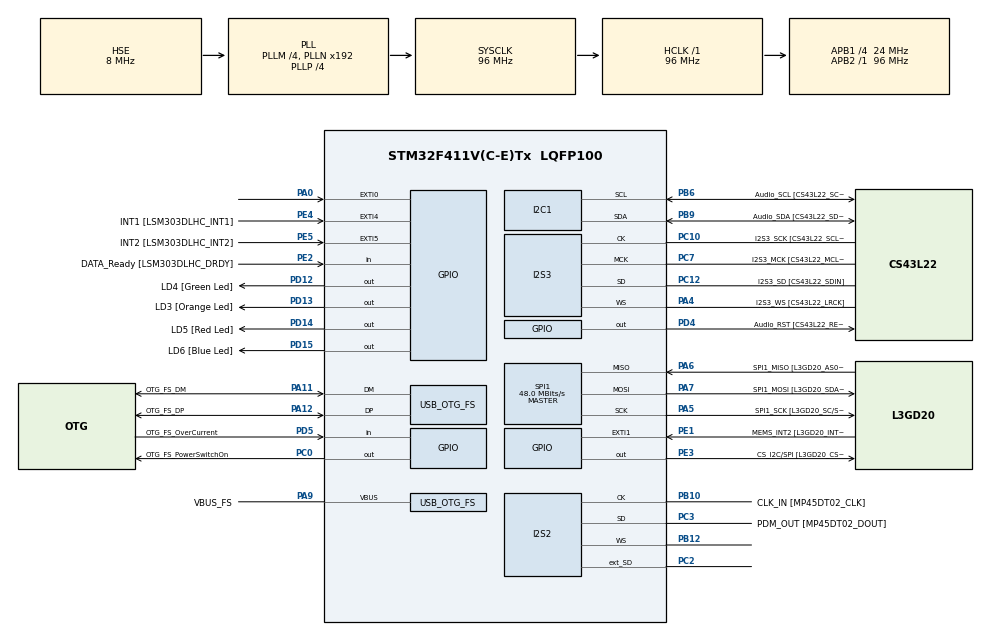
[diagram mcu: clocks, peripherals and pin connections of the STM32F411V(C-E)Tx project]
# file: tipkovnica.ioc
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I2S2.AudioFreq=I2S_AUDIOFREQ_96K
I2S2.ErrorAudioFreq=0.15 %
I2S2.FullDuplexMode=I2S_FULLDUPLEXMODE_ENABLE
I2S2.Instance=SPI$Index
I2S2.RealAudioFreq=96.153 KHz
I2S2.VirtualMode=I2S_MODE_MASTER
I2S3.AudioFreq=I2S_AUDIOFREQ_96K
I2S3.ErrorAudioFreq=-6.99 %
I2S3.FullDuplexMode=I2S_FULLDUPLEXMODE_DISABLE
I2S3.Instance=SPI$Index
I2S3.RealAudioFreq=89.285 KHz
I2S3.VirtualMode=I2S_MODE_MASTER
Mcu.Family=STM32F4
Mcu.Name=STM32F411V(C-E)Tx
Mcu.Package=LQFP100
NVIC.OTG_FS_IRQn=true\:0\:0\:false\:false\:true\:true\:true
NVIC.PriorityGroup=NVIC_PRIORITYGROUP_0
PA0-WKUP.GPIO_ModeDefaultEXTI=GPIO_MODE_EVT_RISING
PA0-WKUP.Signal=GPXTI0
PA10.GPIO_Label=OTG_FS_ID
PA10.Signal=USB_OTG_FS_ID
PA11.GPIO_Label=OTG_FS_DM
PA11.Mode=Device_Only
PA11.Signal=USB_OTG_FS_DM
PA12.GPIO_Label=OTG_FS_DP
PA12.Mode=Device_Only
PA12.Signal=USB_OTG_FS_DP
PA13.GPIO_Label=SWDIO
PA13.Mode=Serial_Wire
PA13.Signal=SYS_JTMS-SWDIO
PA14.GPIO_Label=SWCLK
PA14.Mode=Serial_Wire
PA14.Signal=SYS_JTCK-SWCLK
PA4.GPIO_Label=I2S3_WS [CS43L22_LRCK]
PA4.GPIO_Mode=GPIO_MODE_AF_PP
PA4.GPIO_PuPd=GPIO_NOPULL
PA4.GPIO_Speed=GPIO_SPEED_FREQ_LOW
PA4.Mode=Half_Duplex_Master
PA4.Signal=I2S3_WS
PA5.GPIO_Label=SPI1_SCK [L3GD20_SC/SPC]
PA5.Mode=Full_Duplex_Master
PA5.Signal=SPI1_SCK
PA6.GPIO_Label=SPI1_MISO [L3GD20_AS0/SDO]
PA6.Mode=Full_Duplex_Master
PA6.Signal=SPI1_MISO
PA7.GPIO_Label=SPI1_MOSI [L3GD20_SDA/SDI/SDO]
PA7.Mode=Full_Duplex_Master
PA7.Signal=SPI1_MOSI
PA9.GPIO_Label=VBUS_FS
PA9.Mode=Activate_VBUS
PA9.Signal=USB_OTG_FS_VBUS
PB10.GPIO_Label=CLK_IN [MP45DT02_CLK]
PB10.Mode=Full_Duplex_Master
PB10.Signal=I2S2_CK
PB12.Mode=Full_Duplex_Master
PB12.Signal=I2S2_WS
PB3.GPIO_Label=SWO
PB3.Signal=SYS_JTDO-SWO
PB6.GPIO_Label=Audio_SCL [CS43L22_SCL]
PB6.GPIO_Mode=GPIO_MODE_AF_OD
PB6.GPIO_PuPd=GPIO_NOPULL
PB6.GPIO_Speed=GPIO_SPEED_FREQ_LOW
PB6.Mode=I2C
PB6.Signal=I2C1_SCL
PB9.GPIO_Label=Audio_SDA [CS43L22_SDA]
PB9.GPIO_Mode=GPIO_MODE_AF_OD
PB9.GPIO_PuPd=GPIO_NOPULL
PB9.GPIO_Speed=GPIO_SPEED_FREQ_LOW
PB9.Mode=I2C
PB9.Signal=I2C1_SDA
PC0.GPIO_Label=OTG_FS_PowerSwitchOn
PC0.PinState=GPIO_PIN_SET
PC0.Signal=GPIO_Output
PC10.GPIO_Label=I2S3_SCK [CS43L22_SCLK]
PC10.GPIO_Mode=GPIO_MODE_AF_PP
PC10.GPIO_PuPd=GPIO_NOPULL
PC10.GPIO_Speed=GPIO_SPEED_FREQ_LOW
PC10.Mode=Half_Duplex_Master
PC10.Signal=I2S3_CK
PC12.GPIO_Label=I2S3_SD [CS43L22_SDIN]
PC12.GPIO_Mode=GPIO_MODE_AF_PP
PC12.GPIO_PuPd=GPIO_NOPULL
PC12.GPIO_Speed=GPIO_SPEED_FREQ_LOW
PC12.Mode=Half_Duplex_Master
PC12.Signal=I2S3_SD
PC14-OSC32_IN.GPIO_Label=PC14-OSC32_IN
PC14-OSC32_IN.Signal=RCC_OSC32_IN
PC15-OSC32_OUT.GPIO_Label=PC15-OSC32_OUT
PC15-OSC32_OUT.Signal=RCC_OSC32_OUT
PC2.Mode=Full_Duplex_Master
PC2.Signal=I2S2_ext_SD
PC3.GPIO_Label=PDM_OUT [MP45DT02_DOUT]
PC3.Mode=Full_Duplex_Master
PC3.Signal=I2S2_SD
PC7.GPIO_Label=I2S3_MCK [CS43L22_MCLK]
PC7.GPIO_Mode=GPIO_MODE_AF_PP
PC7.GPIO_PuPd=GPIO_NOPULL
PC7.GPIO_Speed=GPIO_SPEED_FREQ_LOW
PC7.Mode=Master_Clock_Activated
PC7.Signal=I2S3_MCK
PD12.GPIO_Label=LD4 [Green Led]
PD12.GPIO_PuPd=GPIO_NOPULL
PD12.GPIO_Speed=GPIO_SPEED_FREQ_LOW
PD12.Signal=GPIO_Output
PD13.GPIO_Label=LD3 [Orange Led]
PD13.GPIO_PuPd=GPIO_NOPULL
PD13.GPIO_Speed=GPIO_SPEED_FREQ_LOW
PD13.Signal=GPIO_Output
PD14.GPIO_Label=LD5 [Red Led]
PD14.GPIO_PuPd=GPIO_NOPULL
PD14.GPIO_Speed=GPIO_SPEED_FREQ_LOW
PD14.Signal=GPIO_Output
PD15.GPIO_Label=LD6 [Blue Led]
PD15.GPIO_PuPd=GPIO_NOPULL
PD15.GPIO_Speed=GPIO_SPEED_FREQ_LOW
PD15.Signal=GPIO_Output
PD4.GPIO_Label=Audio_RST [CS43L22_RESET]
PD4.Signal=GPIO_Output
PD5.GPIO_Label=OTG_FS_OverCurrent
PD5.Signal=GPIO_Input
PE1.GPIO_Label=MEMS_INT2 [L3GD20_INT2]
PE1.GPIO_ModeDefaultEXTI=GPIO_MODE_EVT_RISING
PE1.Signal=GPXTI1
PE2.GPIO_Label=DATA_Ready [LSM303DLHC_DRDY]
PE2.Signal=GPIO_Input
PE3.GPIO_Label=CS_I2C/SPI [L3GD20_CS_I2C/SPI]
PE3.Signal=GPIO_Output
PE4.GPIO_Label=INT1 [LSM303DLHC_INT1]
PE4.GPIO_ModeDefaultEXTI=GPIO_MODE_EVT_RISING
PE4.Signal=GPXTI4
PE5.GPIO_Label=INT2 [LSM303DLHC_INT2]
PE5.GPIO_ModeDefaultEXTI=GPIO_MODE_EVT_RISING
PE5.Signal=GPXTI5
PH0\ -\ OSC_IN.GPIO_Label=PH0-OSC_IN
PH0\ -\ OSC_IN.Mode=HSE-External-Oscillator
PH0\ -\ OSC_IN.Signal=RCC_OSC_IN
PH1\ -\ OSC_OUT.GPIO_Label=PH1-OSC_OUT
PH1\ -\ OSC_OUT.Mode=HSE-External-Oscillator
PH1\ -\ OSC_OUT.Signal=RCC_OSC_OUT
ProjectManager.HeapSize=0x200
ProjectManager.StackSize=0x400
ProjectManager.TargetToolchain=STM32CubeIDE
RCC.48MHZClocksFreq_Value=48000000
RCC.AHBFreq_Value=96000000
RCC.APB1CLKDivider=RCC_HCLK_DIV4
RCC.APB1Freq_Value=24000000
RCC.APB1TimFreq_Value=48000000
RCC.APB2Freq_Value=96000000
RCC.APB2TimFreq_Value=96000000
RCC.CortexFreq_Value=96000000
RCC.HCLKFreq_Value=96000000
RCC.HSE_VALUE=8000000
RCC.HSI_VALUE=16000000
RCC.LSE_VALUE=32768
RCC.PLLI2SM=5
RCC.PLLI2SN=200
RCC.PLLM=4
RCC.PLLP=RCC_PLLP_DIV4
RCC.PLLQ=8
RCC.SYSCLKFreq_VALUE=96000000
RCC.SYSCLKSource=RCC_SYSCLKSOURCE_PLLCLK
RCC.VCOOutputFreq_Value=384000000
SPI1.BaudRatePrescaler=SPI_BAUDRATEPRESCALER_2
SPI1.CalculateBaudRate=48.0 MBits/s
SPI1.Direction=SPI_DIRECTION_2LINES
SPI1.Mode=SPI_MODE_MASTER
SPI1.VirtualType=VM_MASTER
USB_DEVICE.CLASS_NAME_FS=CUSTOM_HID
USB_DEVICE.PRODUCT_STRING_CUSTOMHID_FS=KeyboardGhost
USB_DEVICE.USBD_CUSTOMHID_OUTREPORT_BUF_SIZE=9
USB_DEVICE.USBD_CUSTOM_HID_REPORT_DESC_SIZE=63
USB_DEVICE.VirtualMode=CustomHid
USB_DEVICE.VirtualModeFS=Custom_Hid_FS
USB_OTG_FS.VirtualMode=Device_Only
VP_USB_DEVICE_VS_USB_DEVICE_CUSTOM_HID_FS.Mode=CUSTOM_HID_FS
board=STM32F411E-DISCO

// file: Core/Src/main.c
/* USER CODE BEGIN Header */
/**
  ******************************************************************************
  * @file           : main.c
  * @brief          : Main program body
  ******************************************************************************
  * @attention
  *
  * <h2><center>&copy; Copyright (c) 2020 STMicroelectronics.
  * All rights reserved.</center></h2>
  *
  * This software component is licensed by ST under Ultimate Liberty license
  * SLA0044, the "License"; You may not use this file except in compliance with
  * the License. You may obtain a copy of the License at:
  *                             www.st.com/SLA0044
  *
  ******************************************************************************
  */
/* USER CODE END Header */
#include "main.h"
#include "usb_device.h"

/* USER CODE BEGIN Includes */
#include "usbd_custom_hid_if.h"
/* USER CODE END Includes */

I2C_HandleTypeDef hi2c1;

I2S_HandleTypeDef hi2s2;
I2S_HandleTypeDef hi2s3;

SPI_HandleTypeDef hspi1;

/* USER CODE BEGIN PV */
extern USBD_HandleTypeDef hUsbDeviceFS;
/* USER CODE END PV */

void SystemClock_Config(void);
static void MX_GPIO_Init(void);
static void MX_I2C1_Init(void);
static void MX_I2S2_Init(void);
static void MX_I2S3_Init(void);
static void MX_SPI1_Init(void);

/* USER CODE BEGIN 0 */
uint8_t tipkovnica[9]={0};
uint8_t tipkovnica2 [9]={0};
void lihi(){
	// pritisnemo tipko 2------------------------------------------------------
	  tipkovnica[3] = 31;
	  while(USBD_CUSTOM_HID_SendReport(&hUsbDeviceFS, tipkovnica, 9));

	  // spustimo tipko 2
	  tipkovnica[3] = 0;
	  while(USBD_CUSTOM_HID_SendReport(&hUsbDeviceFS, tipkovnica, 9));

	  HAL_Delay(245);

	  // pritisnemo tipko 3--------------------------------------------------------
	  tipkovnica[3] = 32;
	  while(USBD_CUSTOM_HID_SendReport(&hUsbDeviceFS, tipkovnica, 9));

	  // spustimo tipko 3
	  tipkovnica[3] = 0;
	  while(USBD_CUSTOM_HID_SendReport(&hUsbDeviceFS, tipkovnica, 9));

	  HAL_Delay(245);

	  // pritisnemo tipko 3-----------------------------------------------------------
	  tipkovnica[3] = 32;
	  while(USBD_CUSTOM_HID_SendReport(&hUsbDeviceFS, tipkovnica, 9));

	  // spustimo tipko 3
	  tipkovnica[3] = 0;
	  while(USBD_CUSTOM_HID_SendReport(&hUsbDeviceFS, tipkovnica, 9));

	  HAL_Delay(245);

	  // pritisnemo tipko 9---------------------------------------------------------
	  tipkovnica[3] = 38;
	  while(USBD_CUSTOM_HID_SendReport(&hUsbDeviceFS, tipkovnica, 9));

	  // spustimo tipko 9
	  tipkovnica[3] = 0;
	  while(USBD_CUSTOM_HID_SendReport(&hUsbDeviceFS, tipkovnica, 9));

	  HAL_Delay(245);

	  // pritisnemo tipko 0----------------------------------------------------
	  tipkovnica[3] = 39;
	  while(USBD_CUSTOM_HID_SendReport(&hUsbDeviceFS, tipkovnica, 9));

	  // spustimo tipko 0
	  tipkovnica[3] = 0;
	  while(USBD_CUSTOM_HID_SendReport(&hUsbDeviceFS, tipkovnica, 9));

	  HAL_Delay(245);
}

// polje znakov
uint32_t polje[95] = {44, 30, 52, 32, 33, 34, 36, 52, 38, 39,
					  85, 87, 54, 86, 55, 56, 39, 30, 31, 32,
					  33, 34, 35, 36, 37, 38, 51, 51, 54, 46,
					  55, 56, 31, 4, 5, 6, 7, 8, 9, 10,
					  11, 12, 13, 14, 15, 16, 17, 18, 19, 20,
					  21, 22, 23, 24, 25, 26, 27, 28, 29, 47,
					  49, 48, 35, 45, 53, 4, 5, 6, 7, 8,
					  9, 10, 11, 12, 13, 14, 15, 16, 17, 18,
					  19, 20, 21, 22, 23, 24, 25, 26, 27, 28,
					  29, 47, 49, 48, 53};

// kdaj stisnemo shift
uint32_t polje_shift[95] = {0, 2, 2, 2, 2, 2, 2, 0, 2, 2,
							0, 0, 0, 0, 0, 0, 0, 0, 0, 0,
							0, 0, 0, 0, 0, 0, 2, 0, 2, 0,
							2, 2, 2, 2, 2, 2, 2, 2, 2, 2,
							2, 2, 2, 2, 2, 2, 2, 2, 2, 2,
							2, 2, 2, 2, 2, 2, 2, 2, 2, 0,
 	 	 	 	 	 	 	0, 0, 2, 2, 0, 0, 0, 0, 0, 0,
							0, 0, 0, 0, 0, 0, 0, 0, 0, 0,
							0, 0, 0, 0, 0, 0, 0, 0, 0, 0,
							0, 2, 2, 2, 2};

void sodi(){
	for(uint32_t i=0; i<96;i++){
		tipkovnica[0] = polje_shift[i]; // pogleda ce more stisnet shift
		tipkovnica[3] = polje[i]; // pogleda kateri gumb more stisnet
		while(USBD_CUSTOM_HID_SendReport(&hUsbDeviceFS, tipkovnica, 9));
		tipkovnica[3] = 0;
		tipkovnica[0] = 0;
		while(USBD_CUSTOM_HID_SendReport(&hUsbDeviceFS, tipkovnica, 9));
		HAL_Delay(245);
	}

}

/* USER CODE END 0 */

int main(void)
{

  /* MCU Configuration--------------------------------------------------------*/

  /* Reset of all peripherals, Initializes the Flash interface and the Systick. */
  HAL_Init();

  /* Configure the system clock */
  SystemClock_Config();

  /* Initialize all configured peripherals */
  MX_GPIO_Init();
  MX_I2C1_Init();
  MX_I2S2_Init();
  MX_I2S3_Init();
  MX_SPI1_Init();
  MX_USB_DEVICE_Init();

  /* Infinite loop */
  /* USER CODE BEGIN WHILE */

    uint32_t spremeni = 0; // ce moremo spremenit
    uint32_t zaporedje = 0; // kateri pritisk
    uint32_t ponovitve = 0; // ce smo liho prvic
    uint32_t ponovitve_s = 0; // ce smo sodo prvic
    while (1)
    {
      if (HAL_GPIO_ReadPin(GPIOA, GPIO_PIN_0)){
    	  // smo pritisnili gumb
    	  if(spremeni == 0){
    		  // prvic not
    		  zaporedje++;
    	  }
    	  spremeni = 1;
      }
      else{
    	  spremeni = 0;
      }

      if(zaporedje%2 == 1){
    	  // lihi pritisk
    	  if(ponovitve == 0){
    		  lihi();
    		  ponovitve_s =0;
    	  }
    	  //sodi();
    	  ponovitve++;

      }
      else if (zaporedje != 0){

    	  if(ponovitve_s==0){
    		  sodi();
    		  ponovitve = 0;
    	  }
    	  ponovitve_s++;
      }

    /* USER CODE END WHILE */

    }
}

void SystemClock_Config(void)
{
  RCC_OscInitTypeDef RCC_OscInitStruct = {0};
  RCC_ClkInitTypeDef RCC_ClkInitStruct = {0};
  RCC_PeriphCLKInitTypeDef PeriphClkInitStruct = {0};

  /** Configure the main internal regulator output voltage
  */
  __HAL_RCC_PWR_CLK_ENABLE();
  __HAL_PWR_VOLTAGESCALING_CONFIG(PWR_REGULATOR_VOLTAGE_SCALE1);
  /** Initializes the RCC Oscillators according to the specified parameters
  * in the RCC_OscInitTypeDef structure.
  */
  RCC_OscInitStruct.OscillatorType = RCC_OSCILLATORTYPE_HSE;
  RCC_OscInitStruct.HSEState = RCC_HSE_ON;
  RCC_OscInitStruct.PLL.PLLState = RCC_PLL_ON;
  RCC_OscInitStruct.PLL.PLLSource = RCC_PLLSOURCE_HSE;
  RCC_OscInitStruct.PLL.PLLM = 4;
  RCC_OscInitStruct.PLL.PLLN = 192;
  RCC_OscInitStruct.PLL.PLLP = RCC_PLLP_DIV4;
  RCC_OscInitStruct.PLL.PLLQ = 8;
  if (HAL_RCC_OscConfig(&RCC_OscInitStruct) != HAL_OK)
  {
    Error_Handler();
  }
  /** Initializes the CPU, AHB and APB buses clocks
  */
  RCC_ClkInitStruct.ClockType = RCC_CLOCKTYPE_HCLK|RCC_CLOCKTYPE_SYSCLK
                              |RCC_CLOCKTYPE_PCLK1|RCC_CLOCKTYPE_PCLK2;
  RCC_ClkInitStruct.SYSCLKSource = RCC_SYSCLKSOURCE_PLLCLK;
  RCC_ClkInitStruct.AHBCLKDivider = RCC_SYSCLK_DIV1;
  RCC_ClkInitStruct.APB1CLKDivider = RCC_HCLK_DIV4;
  RCC_ClkInitStruct.APB2CLKDivider = RCC_HCLK_DIV1;

  if (HAL_RCC_ClockConfig(&RCC_ClkInitStruct, FLASH_LATENCY_3) != HAL_OK)
  {
    Error_Handler();
  }
  PeriphClkInitStruct.PeriphClockSelection = RCC_PERIPHCLK_I2S;
  PeriphClkInitStruct.PLLI2S.PLLI2SN = 200;
  PeriphClkInitStruct.PLLI2S.PLLI2SM = 5;
  PeriphClkInitStruct.PLLI2S.PLLI2SR = 2;
  if (HAL_RCCEx_PeriphCLKConfig(&PeriphClkInitStruct) != HAL_OK)
  {
    Error_Handler();
  }
}

static void MX_I2C1_Init(void)
{

  hi2c1.Instance = I2C1;
  hi2c1.Init.ClockSpeed = 100000;
  hi2c1.Init.DutyCycle = I2C_DUTYCYCLE_2;
  hi2c1.Init.OwnAddress1 = 0;
  hi2c1.Init.AddressingMode = I2C_ADDRESSINGMODE_7BIT;
  hi2c1.Init.DualAddressMode = I2C_DUALADDRESS_DISABLE;
  hi2c1.Init.OwnAddress2 = 0;
  hi2c1.Init.GeneralCallMode = I2C_GENERALCALL_DISABLE;
  hi2c1.Init.NoStretchMode = I2C_NOSTRETCH_DISABLE;
  if (HAL_I2C_Init(&hi2c1) != HAL_OK)
  {
    Error_Handler();
  }

}

static void MX_I2S2_Init(void)
{

  hi2s2.Instance = SPI2;
  hi2s2.Init.Mode = I2S_MODE_MASTER_TX;
  hi2s2.Init.Standard = I2S_STANDARD_PHILIPS;
  hi2s2.Init.DataFormat = I2S_DATAFORMAT_16B;
  hi2s2.Init.MCLKOutput = I2S_MCLKOUTPUT_DISABLE;
  hi2s2.Init.AudioFreq = I2S_AUDIOFREQ_96K;
  hi2s2.Init.CPOL = I2S_CPOL_LOW;
  hi2s2.Init.ClockSource = I2S_CLOCK_PLL;
  hi2s2.Init.FullDuplexMode = I2S_FULLDUPLEXMODE_ENABLE;
  if (HAL_I2S_Init(&hi2s2) != HAL_OK)
  {
    Error_Handler();
  }

}

static void MX_I2S3_Init(void)
{

  hi2s3.Instance = SPI3;
  hi2s3.Init.Mode = I2S_MODE_MASTER_TX;
  hi2s3.Init.Standard = I2S_STANDARD_PHILIPS;
  hi2s3.Init.DataFormat = I2S_DATAFORMAT_16B;
  hi2s3.Init.MCLKOutput = I2S_MCLKOUTPUT_ENABLE;
  hi2s3.Init.AudioFreq = I2S_AUDIOFREQ_96K;
  hi2s3.Init.CPOL = I2S_CPOL_LOW;
  hi2s3.Init.ClockSource = I2S_CLOCK_PLL;
  hi2s3.Init.FullDuplexMode = I2S_FULLDUPLEXMODE_DISABLE;
  if (HAL_I2S_Init(&hi2s3) != HAL_OK)
  {
    Error_Handler();
  }

}

static void MX_SPI1_Init(void)
{

  /* SPI1 parameter configuration*/
  hspi1.Instance = SPI1;
  hspi1.Init.Mode = SPI_MODE_MASTER;
  hspi1.Init.Direction = SPI_DIRECTION_2LINES;
  hspi1.Init.DataSize = SPI_DATASIZE_8BIT;
  hspi1.Init.CLKPolarity = SPI_POLARITY_LOW;
  hspi1.Init.CLKPhase = SPI_PHASE_1EDGE;
  hspi1.Init.NSS = SPI_NSS_SOFT;
  hspi1.Init.BaudRatePrescaler = SPI_BAUDRATEPRESCALER_2;
  hspi1.Init.FirstBit = SPI_FIRSTBIT_MSB;
  hspi1.Init.TIMode = SPI_TIMODE_DISABLE;
  hspi1.Init.CRCCalculation = SPI_CRCCALCULATION_DISABLE;
  hspi1.Init.CRCPolynomial = 10;
  if (HAL_SPI_Init(&hspi1) != HAL_OK)
  {
    Error_Handler();
  }

}

static void MX_GPIO_Init(void)
{
  GPIO_InitTypeDef GPIO_InitStruct = {0};

  /* GPIO Ports Clock Enable */
  __HAL_RCC_GPIOE_CLK_ENABLE();
  __HAL_RCC_GPIOC_CLK_ENABLE();
  __HAL_RCC_GPIOH_CLK_ENABLE();
  __HAL_RCC_GPIOA_CLK_ENABLE();
  __HAL_RCC_GPIOB_CLK_ENABLE();
  __HAL_RCC_GPIOD_CLK_ENABLE();

  /*Configure GPIO pin Output Level */
  HAL_GPIO_WritePin(CS_I2C_SPI_GPIO_Port, CS_I2C_SPI_Pin, GPIO_PIN_RESET);

  /*Configure GPIO pin Output Level */
  HAL_GPIO_WritePin(OTG_FS_PowerSwitchOn_GPIO_Port, OTG_FS_PowerSwitchOn_Pin, GPIO_PIN_SET);

  /*Configure GPIO pin Output Level */
  HAL_GPIO_WritePin(GPIOD, LD4_Pin|LD3_Pin|LD5_Pin|LD6_Pin
                          |Audio_RST_Pin, GPIO_PIN_RESET);

  /*Configure GPIO pin : DATA_Ready_Pin */
  GPIO_InitStruct.Pin = DATA_Ready_Pin;
  GPIO_InitStruct.Mode = GPIO_MODE_INPUT;
  GPIO_InitStruct.Pull = GPIO_NOPULL;
  HAL_GPIO_Init(DATA_Ready_GPIO_Port, &GPIO_InitStruct);

  /*Configure GPIO pin : CS_I2C_SPI_Pin */
  GPIO_InitStruct.Pin = CS_I2C_SPI_Pin;
  GPIO_InitStruct.Mode = GPIO_MODE_OUTPUT_PP;
  GPIO_InitStruct.Pull = GPIO_NOPULL;
  GPIO_InitStruct.Speed = GPIO_SPEED_FREQ_LOW;
  HAL_GPIO_Init(CS_I2C_SPI_GPIO_Port, &GPIO_InitStruct);

  /*Configure GPIO pins : INT1_Pin INT2_Pin MEMS_INT2_Pin */
  GPIO_InitStruct.Pin = INT1_Pin|INT2_Pin|MEMS_INT2_Pin;
  GPIO_InitStruct.Mode = GPIO_MODE_EVT_RISING;
  GPIO_InitStruct.Pull = GPIO_NOPULL;
  HAL_GPIO_Init(GPIOE, &GPIO_InitStruct);

  /*Configure GPIO pin : OTG_FS_PowerSwitchOn_Pin */
  GPIO_InitStruct.Pin = OTG_FS_PowerSwitchOn_Pin;
  GPIO_InitStruct.Mode = GPIO_MODE_OUTPUT_PP;
  GPIO_InitStruct.Pull = GPIO_NOPULL;
  GPIO_InitStruct.Speed = GPIO_SPEED_FREQ_LOW;
  HAL_GPIO_Init(OTG_FS_PowerSwitchOn_GPIO_Port, &GPIO_InitStruct);

  /*Configure GPIO pin : PA0 */
  GPIO_InitStruct.Pin = GPIO_PIN_0;
  GPIO_InitStruct.Mode = GPIO_MODE_EVT_RISING;
  GPIO_InitStruct.Pull = GPIO_NOPULL;
  HAL_GPIO_Init(GPIOA, &GPIO_InitStruct);

  /*Configure GPIO pins : LD4_Pin LD3_Pin LD5_Pin LD6_Pin
                           Audio_RST_Pin */
  GPIO_InitStruct.Pin = LD4_Pin|LD3_Pin|LD5_Pin|LD6_Pin
                          |Audio_RST_Pin;
  GPIO_InitStruct.Mode = GPIO_MODE_OUTPUT_PP;
  GPIO_InitStruct.Pull = GPIO_NOPULL;
  GPIO_InitStruct.Speed = GPIO_SPEED_FREQ_LOW;
  HAL_GPIO_Init(GPIOD, &GPIO_InitStruct);

  /*Configure GPIO pin : OTG_FS_OverCurrent_Pin */
  GPIO_InitStruct.Pin = OTG_FS_OverCurrent_Pin;
  GPIO_InitStruct.Mode = GPIO_MODE_INPUT;
  GPIO_InitStruct.Pull = GPIO_NOPULL;
  HAL_GPIO_Init(OTG_FS_OverCurrent_GPIO_Port, &GPIO_InitStruct);

}

void Error_Handler(void)
{
}

/************************ (C) COPYRIGHT STMicroelectronics *****END OF FILE****/
